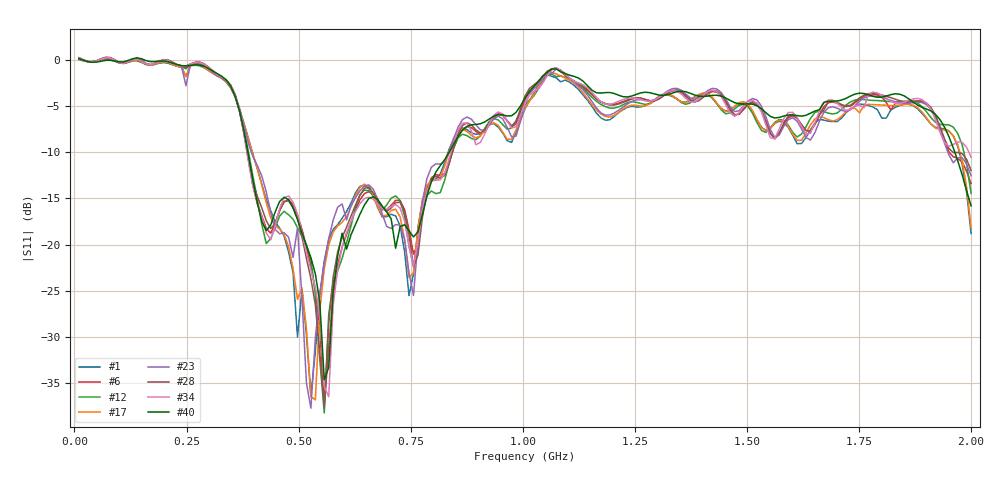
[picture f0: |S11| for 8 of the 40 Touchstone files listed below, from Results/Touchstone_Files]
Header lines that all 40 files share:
!Created with skrf (http://scikit-rf.org).
# Hz S RI R 50.0
!freq ReS11 ImS11
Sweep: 10 MHz to 2 GHz
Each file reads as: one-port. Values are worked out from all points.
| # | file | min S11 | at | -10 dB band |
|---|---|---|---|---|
| 1 | ANT1381H_P1.s1p | -36.4 dB | 527.4 MHz | 437.1 MHz wide |
| 2 | ANT1381H_P2.s1p | -35.6 dB | 547.3 MHz | 454.6 MHz wide |
| 3 | ANT1382H_P1.s1p | -44.9 dB | 527.4 MHz | 435.5 MHz wide |
| 4 | ANT1382H_P2.s1p | -40.7 dB | 557.2 MHz | 455.5 MHz wide |
| 5 | ANT1383H_P1.s1p | -43.2 dB | 527.4 MHz | 445.5 MHz wide |
| 6 | ANT1383H_P2.s1p | -37.4 dB | 557.2 MHz | 457.9 MHz wide |
| 7 | ANT1384H_P1.s1p | -52.8 dB | 527.4 MHz | 446.8 MHz wide |
| 8 | ANT1384H_P2.s1p | -32.1 dB | 557.2 MHz | 458.5 MHz wide |
| 9 | ANT1385H_P1.s1p | -44.0 dB | 537.4 MHz | 440.8 MHz wide |
| 10 | ANT1385H_P2.s1p | -38.4 dB | 557.2 MHz | 454.8 MHz wide |
| 11 | ANT1386H_P1.s1p | -37.3 dB | 527.4 MHz | 439.6 MHz wide |
| 12 | ANT1386H_P2.s1p | -38.2 dB | 557.2 MHz | 454.5 MHz wide |
| 13 | ANT1387H_P1.s1p | -34.3 dB | 527.4 MHz | 433.7 MHz wide |
| 14 | ANT1387H_P2.s1p | -34.5 dB | 557.2 MHz | 452.9 MHz wide |
| 15 | ANT1388H_P1.s1p | -33.3 dB | 517.5 MHz | 424.8 MHz wide |
| 16 | ANT1388H_P2.s1p | -36.1 dB | 547.3 MHz | 454.1 MHz wide |
| 17 | ANT1389H_P1.s1p | -36.8 dB | 537.4 MHz | 438.6 MHz wide |
| 18 | ANT1389H_P2.s1p | -35.9 dB | 557.2 MHz | 454.2 MHz wide |
| 19 | ANT1390H_P1.s1p | -45.3 dB | 527.4 MHz | 443.1 MHz wide |
| 20 | ANT1390H_P2.s1p | -33.7 dB | 547.3 MHz | 456.3 MHz wide |
| 21 | ANT1391H_P1.s1p | -42.1 dB | 527.4 MHz | 442.2 MHz wide |
| 22 | ANT1391H_P2.s1p | -44.4 dB | 557.2 MHz | 459 MHz wide |
| 23 | ANT1392H_P1.s1p | -37.7 dB | 527.4 MHz | 441 MHz wide |
| 24 | ANT1392H_P2.s1p | -38.0 dB | 557.2 MHz | 456.1 MHz wide |
| 25 | ANT1393H_P1.s1p | -52.1 dB | 527.4 MHz | 443.2 MHz wide |
| 26 | ANT1393H_P2.s1p | -39.4 dB | 557.2 MHz | 458.2 MHz wide |
| 27 | ANT1394H_P1.s1p | -44.9 dB | 527.4 MHz | 442.2 MHz wide |
| 28 | ANT1394H_P2.s1p | -37.7 dB | 557.2 MHz | 457.6 MHz wide |
| 29 | ANT1395H_P1.s1p | -37.4 dB | 527.4 MHz | 442.5 MHz wide |
| 30 | ANT1395H_P2.s1p | -48.0 dB | 557.2 MHz | 455.4 MHz wide |
| 31 | ANT1396H_P1.s1p | -39.9 dB | 527.4 MHz | 441.4 MHz wide |
| 32 | ANT1396H_P2.s1p | -35.4 dB | 557.2 MHz | 456.6 MHz wide |
| 33 | ANT1397H_P1.s1p | -39.2 dB | 527.4 MHz | 445.3 MHz wide |
| 34 | ANT1397H_P2.s1p | -36.5 dB | 567.2 MHz | 455.1 MHz wide |
| 35 | ANT1398H_P1.s1p | -48.4 dB | 527.4 MHz | 445.3 MHz wide |
| 36 | ANT1398H_P2.s1p | -32.4 dB | 557.2 MHz | 457.9 MHz wide |
| 37 | ANT1399H_P1.s1p | -62.7 dB | 527.4 MHz | 443.3 MHz wide |
| 38 | ANT1399H_P2.s1p | -35.1 dB | 557.2 MHz | 455.2 MHz wide |
| 39 | ANT1400H_P1.s1p | -34.8 dB | 557.2 MHz | 449.1 MHz wide |
| 40 | ANT1400H_P2.s1p | -34.7 dB | 557.2 MHz | 449.3 MHz wide |
